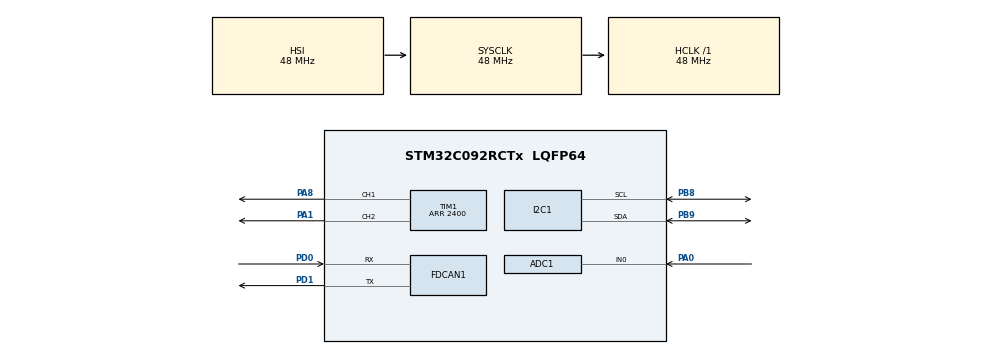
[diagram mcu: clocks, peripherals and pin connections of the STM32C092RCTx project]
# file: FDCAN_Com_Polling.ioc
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ADC1.NbrOfConversionFlag=0
ADC1.SelectedChannel=ADC_CHANNEL_0
ADC1.master=1
FDCAN1.AutoRetransmission=ENABLE
FDCAN1.CalculateBaudRateData=1000000
FDCAN1.CalculateBaudRateNominal=1000000
FDCAN1.CalculateTimeBitNominal=1000
FDCAN1.CalculateTimeQuantumNominal=20.833333333333332
FDCAN1.DataSyncJumpWidth=6
FDCAN1.DataTimeSeg1=17
FDCAN1.DataTimeSeg2=6
FDCAN1.FrameFormat=FDCAN_FRAME_FD_BRS
FDCAN1.NominalPrescaler=1
FDCAN1.NominalSyncJumpWidth=12
FDCAN1.NominalTimeSeg1=35
FDCAN1.NominalTimeSeg2=12
FDCAN1.StdFiltersNbr=1
FDCAN1.TransmitPause=ENABLE
I2C1.Timing=0x10805D88
Mcu.Family=STM32C0
Mcu.Name=STM32C092RCTx
Mcu.Package=LQFP64
NUCLEO-C092RC.BUTTON=1
NUCLEO-C092RC.LD1=true
NUCLEO-C092RC.LD2=true
NUCLEO-C092RC.VCP=true
NVIC.EXTI4_15_IRQn=true\:0\:0\:false\:false\:true\:false\:true\:true
NVIC.TIM2_IRQn=true\:0\:0\:false\:false\:true\:true\:true\:true
PA0.Mode=IN0
PA0.Signal=ADC1_IN0
PA1.Signal=S_TIM1_CH2
PA8.Signal=S_TIM1_CH1
PB8.Mode=I2C
PB8.Signal=I2C1_SCL
PB9.Mode=I2C
PB9.Signal=I2C1_SDA
PD0.Mode=FDCAN_Activate
PD0.Signal=FDCAN1_RX
PD1.Mode=FDCAN_Activate
PD1.Signal=FDCAN1_TX
ProjectManager.HeapSize=0x200
ProjectManager.StackSize=0x400
ProjectManager.TargetToolchain=STM32CubeIDE
RCC.ADCFreq_Value=48000000
RCC.AHBFreq_Value=48000000
RCC.CortexFreq_Value=48000000
RCC.EXTERNAL_CLOCK_VALUE=12288000
RCC.HCLKFreq_Value=48000000
RCC.HSE_VALUE=8000000
RCC.HSISYSCLKDivider=RCC_HSI_DIV1
RCC.HSI_VALUE=48000000
RCC.LSE_VALUE=32768
RCC.SYSCLKFreq_VALUE=48000000
SH.S_TIM1_CH1.0=TIM1_CH1,PWM Generation1 CH1
SH.S_TIM1_CH2.0=TIM1_CH2,PWM Generation2 CH2
TIM1.Channel-PWM\ Generation1\ CH1=TIM_CHANNEL_1
TIM1.Channel-PWM\ Generation2\ CH2=TIM_CHANNEL_2
TIM1.Period=2400
TIM2.Period=48000
TIM2.Prescaler=0
VP_NUCLEO-C092RC_VS_BSP_COMMON.Mode=COMMON
VP_TIM1_VS_ClockSourceINT.Mode=Internal
VP_TIM2_VS_ClockSourceINT.Mode=Internal
board=NUCLEO-C092RC

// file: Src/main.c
/* USER CODE BEGIN Header */
/**
  ******************************************************************************
  * @file           : main.c
  * @brief          : Main program body  (HW16 Current Control)
  ******************************************************************************
  * @attention
  *
  * Based on STM32 FDCAN_Com_Polling example. Modified for HW16.
  *
  ******************************************************************************
  */
/* USER CODE END Header */
#include "main.h"

/* USER CODE BEGIN Includes */
#include <stdio.h>
#include <string.h>
/* USER CODE END Includes */

/* USER CODE BEGIN PD */
#define TX_ID          (0x123)   /* TX CAN message identifier    */
#define RX_ID          (0x123)   /* RX CAN message identifier    */

#define INA219_ADDR             0x40
#define INA219_REG_CONFIG       0x00
#define INA219_REG_CURRENT      0x04
#define INA219_REG_CALIBRATION  0x05

#define NSAMP   400          // 采集点数
#define PWM_MAX 2400         // = TIM1 Counter Period (100% 占空比)
/* USER CODE END PD */

/* USER CODE BEGIN PM */
#define COUNTOF(BUFFER) (sizeof((BUFFER)) / sizeof(*(BUFFER)))
/* USER CODE END PM */

COM_InitTypeDef BspCOMInit;
ADC_HandleTypeDef hadc1;

FDCAN_HandleTypeDef hfdcan1;

I2C_HandleTypeDef hi2c1;

TIM_HandleTypeDef htim1;
TIM_HandleTypeDef htim2;

/* USER CODE BEGIN PV */
FDCAN_RxHeaderTypeDef rxHeader;
FDCAN_TxHeaderTypeDef txHeader;
uint8_t rxData[20U];
/* 20-byte payload: "HW12CAN!WEIQIANPENG" (19 chars) + '\0' = 20 bytes */
static const uint8_t txData[20U] = "HW12CAN!WEIQIANPENG";

/* ---- HW16 current control ---- */
volatile int   state   = 0;      // 0=idle, 1=running
volatile int   counter = 0;
volatile float desired = 200.0f; // target current (mA)
float eint = 0.0f;               // integral of error

float kp = 3.0f;                 // tune these with python
float ki = 0.3f;

volatile float desired_log[NSAMP];
volatile float actual_log[NSAMP];
/* USER CODE END PV */

void SystemClock_Config(void);
static void MX_GPIO_Init(void);
static void MX_FDCAN1_Init(void);
static void MX_ADC1_Init(void);
static void MX_I2C1_Init(void);
static void MX_TIM1_Init(void);
static void MX_TIM2_Init(void);
/* USER CODE BEGIN PFP */
static uint32_t BufferCmp8b(const uint8_t *pBuffer1, const uint8_t *pBuffer2, uint16_t BufferLength);

/* USER CODE END PFP */

/* USER CODE BEGIN 0 */
void writeINA219(int reg, int value){
    uint8_t buf[3];
    buf[0] = reg;
    buf[1] = value >> 8;
    buf[2] = value & 0xff;
    HAL_I2C_Master_Transmit(&hi2c1, INA219_ADDR << 1, buf, 3, 10);
}

signed short readINA219(unsigned char reg){
    HAL_I2C_Master_Transmit(&hi2c1, INA219_ADDR << 1, &reg, 1, 10);
    uint8_t buffer[2];
    HAL_I2C_Master_Receive(&hi2c1, INA219_ADDR << 1, buffer, 2, 10);
    signed short value = (buffer[0] << 8) | buffer[1];
    return value;
}

void init_ina219(void){
    unsigned short cal    = 1024;
    unsigned short config = 0b0011000010001111;
    writeINA219(INA219_REG_CALIBRATION, cal);
    writeINA219(INA219_REG_CONFIG, config);
}

// 返回电流, 单位 mA
float read_ina219(void){
    signed short value = readINA219(INA219_REG_CURRENT);
    return value / -3.0f;
}

// ---------- ADC (电位器位置) ----------
uint32_t read_adc(void){
    uint32_t raw = 0;
    HAL_ADC_Start(&hadc1);
    if (HAL_ADC_PollForConversion(&hadc1, 10) == HAL_OK){
        raw = HAL_ADC_GetValue(&hadc1);
    }
    HAL_ADC_Stop(&hadc1);
    return raw;
}

// ---------- 电机控制 ----------
void motor_off(void){
    // 两个输入都拉高 = 电机关
    __HAL_TIM_SET_COMPARE(&htim1, TIM_CHANNEL_1, PWM_MAX);
    __HAL_TIM_SET_COMPARE(&htim1, TIM_CHANNEL_2, PWM_MAX);
}

// u: 控制量, 正负代表方向; 绝对值越大转越快
void set_motor(float u){
    if (u >  PWM_MAX) u =  PWM_MAX;
    if (u < -PWM_MAX) u = -PWM_MAX;
    if (u >= 0){
        // 一路 100%, 另一路 = MAX - 速度 (数越小越快)
        __HAL_TIM_SET_COMPARE(&htim1, TIM_CHANNEL_2, PWM_MAX);
        __HAL_TIM_SET_COMPARE(&htim1, TIM_CHANNEL_1, PWM_MAX - (uint32_t)u);
    } else {
        __HAL_TIM_SET_COMPARE(&htim1, TIM_CHANNEL_1, PWM_MAX);
        __HAL_TIM_SET_COMPARE(&htim1, TIM_CHANNEL_2, PWM_MAX - (uint32_t)(-u));
    }
}
/* USER CODE END 0 */

int main(void)
{

  /* MCU Configuration--------------------------------------------------------*/

  /* Reset of all peripherals, Initializes the Flash interface and the Systick. */
  HAL_Init();

  /* Configure the system clock */
  SystemClock_Config();

  /* USER CODE BEGIN SysInit */
  /* Configure LED1 and LED2 */
  BSP_LED_Init(LED1);
  BSP_LED_Init(LED2);

  /* Configure User push-button in interrupt mode */
  BSP_PB_Init(BUTTON_USER, BUTTON_MODE_EXTI);

  /* USER CODE END SysInit */

  /* Initialize all configured peripherals */
  MX_GPIO_Init();
  MX_FDCAN1_Init();
  MX_ADC1_Init();
  MX_I2C1_Init();
  MX_TIM1_Init();
  MX_TIM2_Init();
  /* USER CODE BEGIN 2 */
  /* (FDCAN setup left in but unused for HW16) */
  /* USER CODE END 2 */

  /* Initialize leds */
  BSP_LED_Init(LED_GREEN);
  BSP_LED_Init(LED_BLUE);

  /* Initialize USER push-button */
  BSP_PB_Init(BUTTON_USER, BUTTON_MODE_EXTI);

  /* Initialize COM1 port (115200, 8 bits, no parity) */
  BspCOMInit.BaudRate   = 115200;
  BspCOMInit.WordLength = COM_WORDLENGTH_8B;
  BspCOMInit.StopBits   = COM_STOPBITS_1;
  BspCOMInit.Parity     = COM_PARITY_NONE;
  BspCOMInit.HwFlowCtl  = COM_HWCONTROL_NONE;
  if (BSP_COM_Init(COM1, &BspCOMInit) != BSP_ERROR_NONE)
  {
    Error_Handler();
  }

  /* Infinite loop */
  /* USER CODE BEGIN WHILE */

  /* ---- HW16 startup (after COM init so printf works) ---- */
  init_ina219();
  motor_off();
  HAL_TIM_PWM_Start(&htim1, TIM_CHANNEL_1);
  HAL_TIM_PWM_Start(&htim1, TIM_CHANNEL_2);
  HAL_TIM_Base_Start_IT(&htim2);   // start 1kHz interrupt
  printf("HW16 ready. Send 'a' to run.\r\n");

  while (1)
  {
    /* USER CODE END WHILE */

    /* USER CODE BEGIN 3 */
    char c = 0;
    if (HAL_UART_Receive(&hcom_uart[COM1], (uint8_t *)&c, 1, 10) == HAL_OK)
    {
      if (c == 'a')
      {
        eint    = 0.0f;
        counter = 0;
        desired = 200.0f;
        state   = 1;

        while (state == 1) { }   // wait for the interrupt to finish 400 cycles

        for (int i = 0; i < NSAMP; i++)
        {
          printf("%d %d %d\r\n", i, (int)desired_log[i], (int)actual_log[i]);
        }
        printf("done\r\n");
      }
    }
  }
  /* USER CODE END 3 */
}

void SystemClock_Config(void)
{
  RCC_OscInitTypeDef RCC_OscInitStruct = {0};
  RCC_ClkInitTypeDef RCC_ClkInitStruct = {0};

  __HAL_FLASH_SET_LATENCY(FLASH_LATENCY_1);

  /** Initializes the RCC Oscillators according to the specified parameters
  * in the RCC_OscInitTypeDef structure.
  */
  RCC_OscInitStruct.OscillatorType = RCC_OSCILLATORTYPE_HSI;
  RCC_OscInitStruct.HSIState = RCC_HSI_ON;
  RCC_OscInitStruct.HSIDiv = RCC_HSI_DIV1;
  RCC_OscInitStruct.HSICalibrationValue = RCC_HSICALIBRATION_DEFAULT;
  if (HAL_RCC_OscConfig(&RCC_OscInitStruct) != HAL_OK)
  {
    Error_Handler();
  }

  /** Initializes the CPU, AHB and APB buses clocks
  */
  RCC_ClkInitStruct.ClockType = RCC_CLOCKTYPE_HCLK|RCC_CLOCKTYPE_SYSCLK
                              |RCC_CLOCKTYPE_PCLK1;
  RCC_ClkInitStruct.SYSCLKSource = RCC_SYSCLKSOURCE_HSI;
  RCC_ClkInitStruct.SYSCLKDivider = RCC_SYSCLK_DIV1;
  RCC_ClkInitStruct.AHBCLKDivider = RCC_HCLK_DIV1;
  RCC_ClkInitStruct.APB1CLKDivider = RCC_APB1_DIV1;

  if (HAL_RCC_ClockConfig(&RCC_ClkInitStruct, FLASH_LATENCY_1) != HAL_OK)
  {
    Error_Handler();
  }
}

static void MX_ADC1_Init(void)
{

  ADC_ChannelConfTypeDef sConfig = {0};

  /** Configure the global features of the ADC (Clock, Resolution, Data Alignment and number of conversion)
  */
  hadc1.Instance = ADC1;
  hadc1.Init.ClockPrescaler = ADC_CLOCK_SYNC_PCLK_DIV2;
  hadc1.Init.Resolution = ADC_RESOLUTION_12B;
  hadc1.Init.DataAlign = ADC_DATAALIGN_RIGHT;
  hadc1.Init.ScanConvMode = ADC_SCAN_SEQ_FIXED;
  hadc1.Init.EOCSelection = ADC_EOC_SINGLE_CONV;
  hadc1.Init.LowPowerAutoWait = DISABLE;
  hadc1.Init.LowPowerAutoPowerOff = DISABLE;
  hadc1.Init.ContinuousConvMode = DISABLE;
  hadc1.Init.NbrOfConversion = 1;
  hadc1.Init.DiscontinuousConvMode = DISABLE;
  hadc1.Init.ExternalTrigConv = ADC_SOFTWARE_START;
  hadc1.Init.ExternalTrigConvEdge = ADC_EXTERNALTRIGCONVEDGE_NONE;
  hadc1.Init.DMAContinuousRequests = DISABLE;
  hadc1.Init.Overrun = ADC_OVR_DATA_PRESERVED;
  hadc1.Init.SamplingTimeCommon1 = ADC_SAMPLETIME_1CYCLE_5;
  hadc1.Init.OversamplingMode = DISABLE;
  hadc1.Init.TriggerFrequencyMode = ADC_TRIGGER_FREQ_HIGH;
  if (HAL_ADC_Init(&hadc1) != HAL_OK)
  {
    Error_Handler();
  }

  /** Configure Regular Channel
  */
  sConfig.Channel = ADC_CHANNEL_0;
  sConfig.Rank = ADC_RANK_CHANNEL_NUMBER;
  if (HAL_ADC_ConfigChannel(&hadc1, &sConfig) != HAL_OK)
  {
    Error_Handler();
  }

}

static void MX_FDCAN1_Init(void)
{

  hfdcan1.Instance = FDCAN1;
  hfdcan1.Init.ClockDivider = FDCAN_CLOCK_DIV1;
  hfdcan1.Init.FrameFormat = FDCAN_FRAME_FD_BRS;
  hfdcan1.Init.Mode = FDCAN_MODE_NORMAL;
  hfdcan1.Init.AutoRetransmission = ENABLE;
  hfdcan1.Init.TransmitPause = ENABLE;
  hfdcan1.Init.ProtocolException = DISABLE;
  hfdcan1.Init.NominalPrescaler = 1;
  hfdcan1.Init.NominalSyncJumpWidth = 12;
  hfdcan1.Init.NominalTimeSeg1 = 35;
  hfdcan1.Init.NominalTimeSeg2 = 12;
  hfdcan1.Init.DataPrescaler = 1;
  hfdcan1.Init.DataSyncJumpWidth = 6;
  hfdcan1.Init.DataTimeSeg1 = 17;
  hfdcan1.Init.DataTimeSeg2 = 6;
  hfdcan1.Init.StdFiltersNbr = 1;
  hfdcan1.Init.ExtFiltersNbr = 0;
  hfdcan1.Init.TxFifoQueueMode = FDCAN_TX_FIFO_OPERATION;
  if (HAL_FDCAN_Init(&hfdcan1) != HAL_OK)
  {
    Error_Handler();
  }

}

static void MX_I2C1_Init(void)
{

  hi2c1.Instance = I2C1;
  hi2c1.Init.Timing = 0x10805D88;
  hi2c1.Init.OwnAddress1 = 0;
  hi2c1.Init.AddressingMode = I2C_ADDRESSINGMODE_7BIT;
  hi2c1.Init.DualAddressMode = I2C_DUALADDRESS_DISABLE;
  hi2c1.Init.OwnAddress2 = 0;
  hi2c1.Init.OwnAddress2Masks = I2C_OA2_NOMASK;
  hi2c1.Init.GeneralCallMode = I2C_GENERALCALL_DISABLE;
  hi2c1.Init.NoStretchMode = I2C_NOSTRETCH_DISABLE;
  if (HAL_I2C_Init(&hi2c1) != HAL_OK)
  {
    Error_Handler();
  }

  /** Configure Analogue filter
  */
  if (HAL_I2CEx_ConfigAnalogFilter(&hi2c1, I2C_ANALOGFILTER_ENABLE) != HAL_OK)
  {
    Error_Handler();
  }

  /** Configure Digital filter
  */
  if (HAL_I2CEx_ConfigDigitalFilter(&hi2c1, 0) != HAL_OK)
  {
    Error_Handler();
  }

}

static void MX_TIM1_Init(void)
{

  TIM_ClockConfigTypeDef sClockSourceConfig = {0};
  TIM_MasterConfigTypeDef sMasterConfig = {0};
  TIM_OC_InitTypeDef sConfigOC = {0};
  TIM_BreakDeadTimeConfigTypeDef sBreakDeadTimeConfig = {0};

  htim1.Instance = TIM1;
  htim1.Init.Prescaler = 0;
  htim1.Init.CounterMode = TIM_COUNTERMODE_UP;
  htim1.Init.Period = 2400;
  htim1.Init.ClockDivision = TIM_CLOCKDIVISION_DIV1;
  htim1.Init.RepetitionCounter = 0;
  htim1.Init.AutoReloadPreload = TIM_AUTORELOAD_PRELOAD_DISABLE;
  if (HAL_TIM_Base_Init(&htim1) != HAL_OK)
  {
    Error_Handler();
  }
  sClockSourceConfig.ClockSource = TIM_CLOCKSOURCE_INTERNAL;
  if (HAL_TIM_ConfigClockSource(&htim1, &sClockSourceConfig) != HAL_OK)
  {
    Error_Handler();
  }
  if (HAL_TIM_PWM_Init(&htim1) != HAL_OK)
  {
    Error_Handler();
  }
  sMasterConfig.MasterOutputTrigger = TIM_TRGO_RESET;
  sMasterConfig.MasterOutputTrigger2 = TIM_TRGO2_RESET;
  sMasterConfig.MasterSlaveMode = TIM_MASTERSLAVEMODE_DISABLE;
  if (HAL_TIMEx_MasterConfigSynchronization(&htim1, &sMasterConfig) != HAL_OK)
  {
    Error_Handler();
  }
  sConfigOC.OCMode = TIM_OCMODE_PWM1;
  sConfigOC.Pulse = 0;
  sConfigOC.OCPolarity = TIM_OCPOLARITY_HIGH;
  sConfigOC.OCNPolarity = TIM_OCNPOLARITY_HIGH;
  sConfigOC.OCFastMode = TIM_OCFAST_DISABLE;
  sConfigOC.OCIdleState = TIM_OCIDLESTATE_RESET;
  sConfigOC.OCNIdleState = TIM_OCNIDLESTATE_RESET;
  if (HAL_TIM_PWM_ConfigChannel(&htim1, &sConfigOC, TIM_CHANNEL_1) != HAL_OK)
  {
    Error_Handler();
  }
  if (HAL_TIM_PWM_ConfigChannel(&htim1, &sConfigOC, TIM_CHANNEL_2) != HAL_OK)
  {
    Error_Handler();
  }
  sBreakDeadTimeConfig.OffStateRunMode = TIM_OSSR_DISABLE;
  sBreakDeadTimeConfig.OffStateIDLEMode = TIM_OSSI_DISABLE;
  sBreakDeadTimeConfig.LockLevel = TIM_LOCKLEVEL_OFF;
  sBreakDeadTimeConfig.DeadTime = 0;
  sBreakDeadTimeConfig.BreakState = TIM_BREAK_DISABLE;
  sBreakDeadTimeConfig.BreakPolarity = TIM_BREAKPOLARITY_HIGH;
  sBreakDeadTimeConfig.BreakFilter = 0;
  sBreakDeadTimeConfig.BreakAFMode = TIM_BREAK_AFMODE_INPUT;
  sBreakDeadTimeConfig.Break2State = TIM_BREAK2_DISABLE;
  sBreakDeadTimeConfig.Break2Polarity = TIM_BREAK2POLARITY_HIGH;
  sBreakDeadTimeConfig.Break2Filter = 0;
  sBreakDeadTimeConfig.Break2AFMode = TIM_BREAK_AFMODE_INPUT;
  sBreakDeadTimeConfig.AutomaticOutput = TIM_AUTOMATICOUTPUT_DISABLE;
  if (HAL_TIMEx_ConfigBreakDeadTime(&htim1, &sBreakDeadTimeConfig) != HAL_OK)
  {
    Error_Handler();
  }
  HAL_TIM_MspPostInit(&htim1);

}

static void MX_TIM2_Init(void)
{

  TIM_ClockConfigTypeDef sClockSourceConfig = {0};
  TIM_MasterConfigTypeDef sMasterConfig = {0};

  htim2.Instance = TIM2;
  htim2.Init.Prescaler = 0;
  htim2.Init.CounterMode = TIM_COUNTERMODE_UP;
  htim2.Init.Period = 48000;
  htim2.Init.ClockDivision = TIM_CLOCKDIVISION_DIV1;
  htim2.Init.AutoReloadPreload = TIM_AUTORELOAD_PRELOAD_DISABLE;
  if (HAL_TIM_Base_Init(&htim2) != HAL_OK)
  {
    Error_Handler();
  }
  sClockSourceConfig.ClockSource = TIM_CLOCKSOURCE_INTERNAL;
  if (HAL_TIM_ConfigClockSource(&htim2, &sClockSourceConfig) != HAL_OK)
  {
    Error_Handler();
  }
  sMasterConfig.MasterOutputTrigger = TIM_TRGO_RESET;
  sMasterConfig.MasterSlaveMode = TIM_MASTERSLAVEMODE_DISABLE;
  if (HAL_TIMEx_MasterConfigSynchronization(&htim2, &sMasterConfig) != HAL_OK)
  {
    Error_Handler();
  }

}

static void MX_GPIO_Init(void)
{

  /* GPIO Ports Clock Enable */
  __HAL_RCC_GPIOA_CLK_ENABLE();
  __HAL_RCC_GPIOD_CLK_ENABLE();
  __HAL_RCC_GPIOB_CLK_ENABLE();

}

/* USER CODE BEGIN 4 */

// ---- 1kHz timer interrupt: PI current control + safety ----
void HAL_TIM_PeriodElapsedCallback(TIM_HandleTypeDef *htim)
{
  if (htim == &htim2)
  {
    uint32_t pos = read_adc();

    // safety e-stop: pot out of range -> motor off
    if (pos < 250 || pos > (4095 - 250))
    {
      motor_off();
      return;
    }

    if (state == 1)
    {
      float actual = read_ina219();
      float error  = desired - actual;
      eint += error;
      float u = kp * error + ki * eint;
      set_motor(u);

      if (counter < NSAMP)
      {
        desired_log[counter] = desired;
        actual_log[counter]  = actual;
      }
      counter++;

      // flip target current every 100 cycles -> square wave
      if ((counter % 100) == 0)
      {
        desired = -desired;
      }

      // stop after 400 cycles
      if (counter >= NSAMP)
      {
        motor_off();
        state   = 0;
        counter = 0;
        eint    = 0.0f;
      }
    }
  }
}

/**
  * @brief  BSP User push-button callback
  * @param  Button Specifies the pin connected EXTI line
  * @retval None.
  */
void BSP_PB_Callback(Button_TypeDef Button)
{
  if (Button == BUTTON_USER)
  {
    BSP_LED_Off(LED1);
    HAL_Delay(100U);
  }
}

/**
  * @brief  Compares two buffers.
  */
static uint32_t BufferCmp8b(const uint8_t *pBuffer1, const uint8_t *pBuffer2, uint16_t BufferLength)
{
  while (BufferLength--)
  {
    if (*pBuffer1 != *pBuffer2)
    {
      return 1U;
    }
    pBuffer1++;
    pBuffer2++;
  }
  return 0U;
}
/* USER CODE END 4 */

void Error_Handler(void)
{
  /* USER CODE BEGIN Error_Handler_Debug */
  __disable_irq();
  while (1)
  {
    BSP_LED_Toggle(LED2);
    HAL_Delay(1000U);
  }
  /* USER CODE END Error_Handler_Debug */
}
